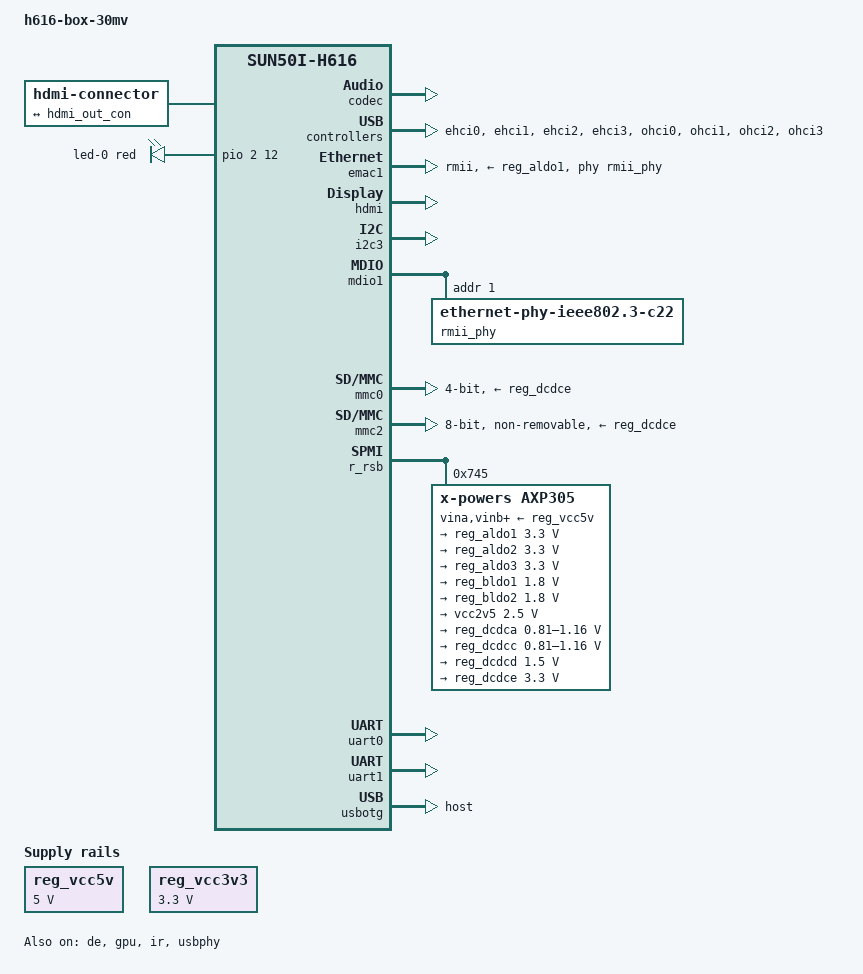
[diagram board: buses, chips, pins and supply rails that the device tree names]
// SPDX-License-Identifier: (GPL-2.0+ OR MIT)
/*
 * Copyright (C) 2026 hexdump0815
 * Author: hexdump0815@gmail.com
 * Based on: sun50i-h616-x96-mate.dts
 */

/dts-v1/;

#include "sun50i-h616.dtsi"
#include "sun50i-h61x-30mv-cpu-opp.dtsi"

#include <dt-bindings/gpio/gpio.h>
#include <dt-bindings/interrupt-controller/arm-gic.h>
#include <dt-bindings/leds/common.h>

/ {
	model = "h616-box-30mv";
	compatible = "h616,box-30mv", "allwinner,sun50i-h616";

	aliases {
		mmc0 = &mmc0;
		mmc2 = &mmc2;
		ethernet0 = &emac1;
//		ethernet1 = &sdio_wifi;
		serial0 = &uart0;
	};

	chosen {
		stdout-path = "serial0:115200n8";
	};

	connector {
		compatible = "hdmi-connector";
		type = "d";

		port {
			hdmi_con_in: endpoint {
				remote-endpoint = <&hdmi_out_con>;
			};
		};
	};

	leds {
		compatible = "gpio-leds";

		led-0 {
			function = LED_FUNCTION_POWER;
			color = <LED_COLOR_ID_RED>;
			gpios = <&pio 2 12 GPIO_ACTIVE_HIGH>; /* PC12 */
			default-state = "on";
		};

// alternative led settings for x96q with blue/red two color led
//		power {
// 			function = LED_FUNCTION_POWER;
//			color = <LED_COLOR_ID_BLUE>;
//			gpios = <&pio 7 6 GPIO_ACTIVE_LOW>; /* PH6 */
// 			default-state = "on";
// 		};
//
//		status {
//			function = LED_FUNCTION_STATUS;
//			color = <LED_COLOR_ID_RED>;
//			gpios = <&pio 7 7 GPIO_ACTIVE_HIGH>; /* PH7 */
//		};
	};

	reg_vcc5v: vcc5v {
		/* board wide 5V supply directly from the DC input */
		compatible = "regulator-fixed";
		regulator-name = "vcc-5v";
		regulator-min-microvolt = <5000000>;
		regulator-max-microvolt = <5000000>;
		regulator-always-on;
	};

// check if possible
	reg_vcc3v3: vcc3v3 {
		/* discrete 3.3V regulator */
		compatible = "regulator-fixed";
		regulator-name = "vcc-3v3";
		regulator-min-microvolt = <3300000>;
		regulator-max-microvolt = <3300000>;
		regulator-always-on;
	};

// check if possible
//	wifi_pwrseq: pwrseq {
//		compatible = "mmc-pwrseq-simple";
//		clocks = <&rtc CLK_OSC32K_FANOUT>;
//		clock-names = "ext_clock";
//		pinctrl-0 = <&x32clk_fanout_pin>;
//		pinctrl-names = "default";
//		reset-gpios = <&pio 6 18 GPIO_ACTIVE_LOW>; /* PG18 */
//	};

//	reg_usb1_vbus: usb1-vbus {
//		compatible = "regulator-fixed";
//		regulator-name = "usb1-vbus";
//		regulator-min-microvolt = <5000000>;
//		regulator-max-microvolt = <5000000>;
//		vin-supply = <&reg_vcc5v>;
//		enable-active-high;
//		/* gpio = <&pio 2 16 GPIO_ACTIVE_HIGH>; PC16 */
//		status = "okay";
//	};

//	reg_vcc_wifi: reg_vcc_wifi {
//		compatible = "regulator-fixed";
//		regulator-name = "vcc-wifi";
//		regulator-min-microvolt = <3300000>;
//		regulator-max-microvolt = <3300000>;
//		gpio = <&pio 6 18 GPIO_ACTIVE_HIGH>; /* PG18 WL_REG_ON */
//		regulator-always-on;
//		enable-active-high;
//		status = "okay";
//	};

//	wifi_pwrseq: wifi_pwrseq {
//		compatible = "mmc-pwrseq-simple";
//		post-power-on-delay-ms = <200>;
//	};

};

&codec {
	allwinner,audio-routing = "Line Out", "LINEOUT";
	status = "okay";
};

&cpu0 {
	cpu-supply = <&reg_dcdca>;
};

&de {
	status = "okay";
};

&ehci0 {
	status = "okay";
};

// check
&ehci1 {
	status = "okay";
};

&ehci2 {
	status = "okay";
};

// check
&ehci3 {
	status = "okay";
};

&emac1 {
	pinctrl-names = "default";
	pinctrl-0 = <&rmii_pins>;
	phy-mode = "rmii";
	phy-handle = <&rmii_phy>;
	phy-supply = <&reg_aldo1>;
	allwinner,rx-delay-ps = <3100>;
	allwinner,tx-delay-ps = <700>;
	status = "okay";
};

&hdmi {
	hvcc-supply = <&reg_bldo1>;
	status = "okay";
};

&hdmi_out {
	hdmi_out_con: endpoint {
		remote-endpoint = <&hdmi_con_in>;
	};
};

&gpu {
	mali-supply = <&reg_dcdcc>;
	status = "okay";
};

&ir {
	status = "okay";
};

&i2c3 {
	status = "okay";
};

&mdio1 {
	rmii_phy: ethernet-phy@1 {
		compatible = "ethernet-phy-ieee802.3-c22";
		reg = <1>;
	};
};

&mmc0 {
	vmmc-supply = <&reg_dcdce>;
// as the card detect gpio varies across disks lets just ignore it
//	cd-gpios = <&pio 8 16 GPIO_ACTIVE_LOW>;	/* PI16 */
// alternative cd-gpio settings for x96q
//	cd-gpios = <&pio 5 6 GPIO_ACTIVE_LOW>;	/* PF6 */
	broken-cd;
	disable-wp;
	bus-width = <4>;
	status = "okay";
};

// check if possible
//&mmc1 {
//	vmmc-supply = <&reg_dldo1>;
//	vqmmc-supply = <&reg_aldo1>;
//	mmc-pwrseq = <&wifi_pwrseq>;
//	bus-width = <4>;
//	non-removable;
//	status = "okay";
//
//	sdio_wifi: wifi@1 {
//		reg = <1>;
//	};
//};

&mmc2 {
	vmmc-supply = <&reg_dcdce>;
	vqmmc-supply = <&reg_bldo1>;
	bus-width = <8>;
	non-removable;
	cap-mmc-hw-reset;
//	mmc-ddr-1_8v;
//	mmc-hs200-1_8v;
	status = "okay";
};

&ohci0 {
	status = "okay";
};

// check
&ohci1 {
	status = "okay";
};

&ohci2 {
	status = "okay";
};

// check
&ohci3 {
	status = "okay";
};

&r_rsb {
	status = "okay";

	axp305: pmic@745 {
		compatible = "x-powers,axp305", "x-powers,axp805",
			     "x-powers,axp806";
		interrupt-controller;
		#interrupt-cells = <1>;
		reg = <0x745>;

		x-powers,self-working-mode;
		vina-supply = <&reg_vcc5v>;
		vinb-supply = <&reg_vcc5v>;
		vinc-supply = <&reg_vcc5v>;
		vind-supply = <&reg_vcc5v>;
		vine-supply = <&reg_vcc5v>;
		aldoin-supply = <&reg_vcc5v>;
		bldoin-supply = <&reg_vcc5v>;
		cldoin-supply = <&reg_vcc5v>;

		regulators {
			reg_aldo1: aldo1 {
				regulator-always-on;
				regulator-min-microvolt = <3300000>;
				regulator-max-microvolt = <3300000>;
				regulator-name = "vcc-sys";
			};

			/* Enabled by the Android BSP */
			reg_aldo2: aldo2 {
				regulator-min-microvolt = <3300000>;
				regulator-max-microvolt = <3300000>;
				regulator-name = "vcc3v3-ext";
				status = "disabled";
			};

			/* Enabled by the Android BSP */
			reg_aldo3: aldo3 {
				regulator-min-microvolt = <3300000>;
				regulator-max-microvolt = <3300000>;
				regulator-name = "vcc3v3-ext2";
				status = "disabled";
			};

			reg_bldo1: bldo1 {
				regulator-always-on;
				regulator-min-microvolt = <1800000>;
				regulator-max-microvolt = <1800000>;
				regulator-name = "vcc1v8";
			};

			/* Enabled by the Android BSP */
			reg_bldo2: bldo2 {
				regulator-min-microvolt = <1800000>;
				regulator-max-microvolt = <1800000>;
				regulator-name = "vcc1v8-2";
				status = "disabled";
			};

			bldo3 {
				/* unused */
			};

			bldo4 {
				/* unused */
			};

			cldo1 {
				regulator-min-microvolt = <2500000>;
				regulator-max-microvolt = <2500000>;
				regulator-name = "vcc2v5";
			};

			cldo2 {
				/* unused */
			};

			cldo3 {
				/* unused */
			};

			reg_dcdca: dcdca {
				regulator-always-on;
				regulator-min-microvolt = <810000>;
				regulator-max-microvolt = <1160000>;
				regulator-name = "vdd-cpu";
			};

			reg_dcdcc: dcdcc {
				regulator-always-on;
				regulator-min-microvolt = <810000>;
				regulator-max-microvolt = <1160000>;
				regulator-name = "vdd-gpu-sys";
			};

			reg_dcdcd: dcdcd {
				regulator-always-on;
				regulator-min-microvolt = <1500000>;
				regulator-max-microvolt = <1500000>;
				regulator-name = "vdd-dram";
			};

			reg_dcdce: dcdce {
				regulator-always-on;
				regulator-min-microvolt = <3300000>;
				regulator-max-microvolt = <3300000>;
				regulator-name = "vcc-eth-mmc";
			};

			sw {
				/* unused */
			};
		};
	};
};

&uart0 {
	pinctrl-names = "default";
	pinctrl-0 = <&uart0_ph_pins>;
	status = "okay";
};

&uart1 {
	pinctrl-names = "default";
	pinctrl-0 = <&uart1_pins>, <&uart1_rts_cts_pins>;
	uart-has-rtscts;
	status = "okay";

// check
//	bluetooth {
//		compatible = "brcm,bcm43438-bt";
//		clocks = <&rtc 1>;
//		clock-names = "lpo";
//		vbat-supply = <&reg_dcdce>;
//		vddio-supply = <&reg_dcdce>;
//		device-wakeup-gpios = <&r_pio 0 6 GPIO_ACTIVE_HIGH>; /* PL6 */
//		host-wakeup-gpios = <&r_pio 0 5 GPIO_ACTIVE_HIGH>; /* PL5 */
//		shutdown-gpios = <&r_pio 0 4 GPIO_ACTIVE_HIGH>; /* PL4 */
//	};
};

&usbotg {
	dr_mode = "host";	/* USB A type receptable */
	status = "okay";
};

&usbphy {
	status = "okay";
};
